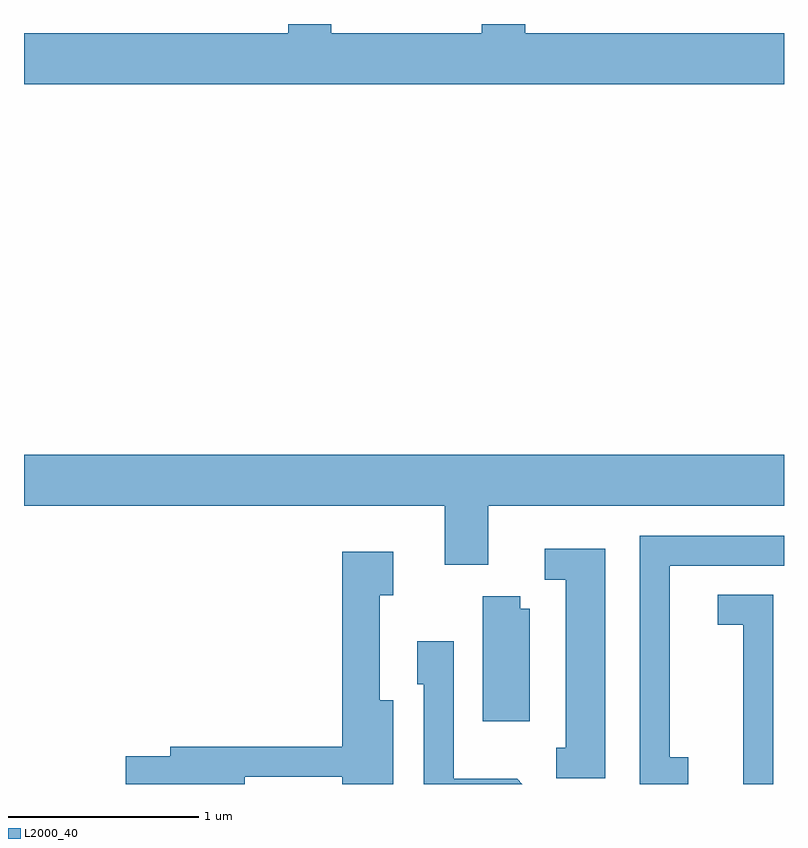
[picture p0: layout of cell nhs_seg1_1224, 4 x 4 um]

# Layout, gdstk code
import gdstk
lib = gdstk.Library(unit=1e-6, precision=1e-09)
def P(c, l, *ps):  # polygons
    for p in ps: c.add(gdstk.Polygon(p, *l))
L2000_40 = (2000, 40)

nhs_seg1_1224 = lib.new_cell('nhs_seg1_1224')
P(nhs_seg1_1224, L2000_40, [(227.611,857.664),(226.249,857.664),(226.249,857.712),(226.021,857.712),(226.021,857.664),(225.229,857.664),(225.229,857.712),(225.001,857.712),(225.001,857.664),(223.611,857.664),(223.611,857.396),(227.611,857.396)],
  [(226.054,855.176),(227.611,855.176),(227.611,855.444),(223.611,855.444),(223.611,855.176),(225.826,855.176),(225.826,854.866),(226.054,854.866)],
  [(227.108,853.854),(227.009,853.854),(227.009,854.861),(227.611,854.861),(227.611,855.019),(226.851,855.019),(226.851,853.712),(227.108,853.712)],
  [(226.669,854.949),(226.353,854.949),(226.353,854.786),(226.461,854.786),(226.461,853.904),(226.413,853.904),(226.413,853.741),(226.669,853.741)],
  [(224.774,853.751),(225.286,853.751),(225.286,853.712),(225.554,853.712),(225.554,854.154),(225.484,854.154),(225.484,854.706),(225.554,854.706),(225.554,854.934),(225.286,854.934),(225.286,853.909),(224.381,853.909),(224.381,853.859),(224.146,853.859),(224.146,853.712),(224.774,853.712)],
  [(227.554,854.709),(227.263,854.709),(227.263,854.551),(227.396,854.551),(227.396,853.712),(227.554,853.712)],
  [(226.274,854.634),(226.224,854.634),(226.224,854.699),(226.026,854.699),(226.026,854.041),(226.274,854.041)],
  [(226.207,853.739),(225.874,853.739),(225.874,854.464),(225.681,854.464),(225.681,854.236),(225.716,854.236),(225.716,853.712),(226.234,853.712)])

lib.write_gds('nhs_seg1_1224.gds')
